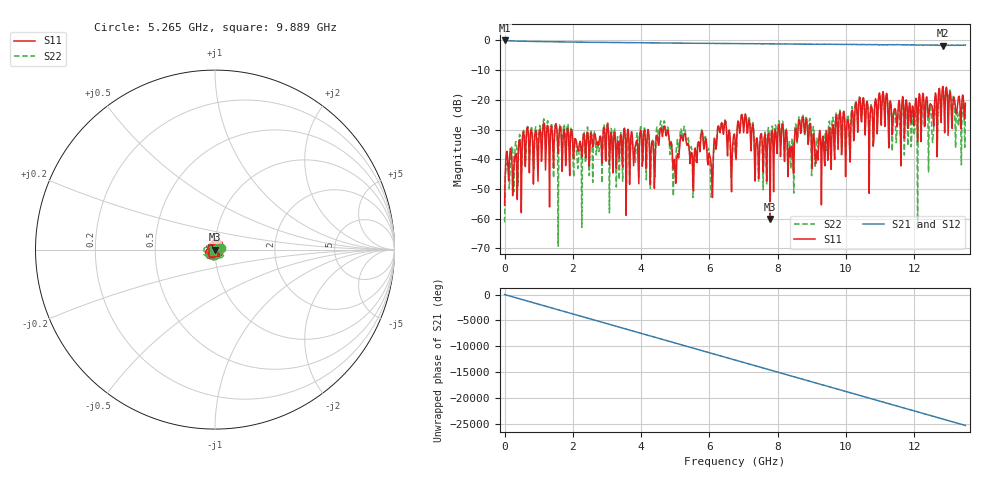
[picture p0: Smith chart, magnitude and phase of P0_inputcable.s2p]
!Agilent Technologies,N5230A,MY45000845,A.06.01.05
!Agilent N5230A: A.06.01.05
!Date: Friday, July 13, 2012 16:26:16
!Correction: S11(Full 2 Port(1,2)) S21(Full 2 Port(1,2)) S12(Full 2 Port(1,2)) S22(Full 2 Port(1,2))
!S2P File: Measurements: S11, S21, S12, S22:
# Hz S  dB  R 50
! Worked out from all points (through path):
!   801 points, 300 kHz to 13.5 GHz, reference 50 ohm
!   highest |S21| = -0.02 dB at 300 kHz (marker M1); lowest = -1.7 dB at 12.84 GHz (marker M2)
!   lowest |S11| = -60.1 dB at 7.78 GHz (marker M3), VSWR 1.00, Z = 50.1 - j0.0142 ohm
!   |S11| at or under -10 dB: start of sweep to end of sweep
!   |S22| runs from -69.2 to -16.1 dB; largest |S21 - S12| = 0.011
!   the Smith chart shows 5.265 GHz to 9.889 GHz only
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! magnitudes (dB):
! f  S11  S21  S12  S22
! 300 kHz  -55.4  0.0  0.0  -61.2
! 169 MHz  -36.3  -0.2  -0.1  -42.7
! 725.9 MHz  -44.5  -0.3  -0.3  -40.0
! 2.261 GHz  -39.4  -0.6  -0.6  -62.9
! 2.97 GHz  -40.6  -0.7  -0.7  -36.8
! 4.337 GHz  -34.0  -0.8  -0.8  -33.5
! 4.506 GHz  -35.3  -0.9  -0.9  -32.9
! 4.961 GHz  -40.6  -0.9  -0.9  -41.6
! 5.215 GHz  -33.7  -0.9  -0.9  -32.8
! 5.569 GHz  -36.5  -1.0  -1.0  -37.7
! 5.822 GHz  -34.5  -1.0  -1.0  -33.6
! 6.058 GHz  -42.9  -1.0  -1.0  -52.8
! 6.311 GHz  -31.1  -1.0  -1.0  -30.4
! 6.75 GHz  -33.4  -1.1  -1.1  -35.1
! 7.003 GHz  -31.0  -1.1  -1.1  -28.9
! 7.51 GHz  -31.5  -1.1  -1.1  -32.1
! 7.78 GHz  -60.1  -1.2  -1.2  -40.7
! 9.011 GHz  -43.0  -1.3  -1.3  -35.1
! 11.26 GHz  -36.2  -1.4  -1.4  -26.7
! 12.05 GHz  -19.5  -1.6  -1.5  -22.9
! 12.84 GHz  -15.5  -1.7  -1.7  -16.6
! 13.5 GHz  -21.2  -1.6  -1.6  -24.7
